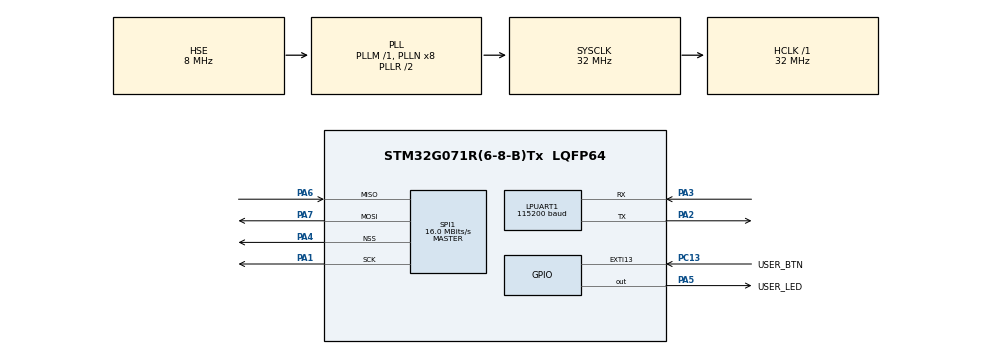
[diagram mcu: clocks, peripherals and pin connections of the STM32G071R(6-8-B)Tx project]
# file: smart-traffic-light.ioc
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FREERTOS.BinarySemaphores01=logger_s,Static,logger_s_ControlBlock;uart_s,Static,uart_s_ControlBlock
FREERTOS.Queues01=log_queue,16,logger_obj_t,0,Static,log_queueBuffer,log_queueControlBlock
FREERTOS.Tasks01=task1,24,512,task1_fct,Default,NULL,Static,task1_Buffer,task1_ControlBlock;task2,8,512,task2_fct,Default,NULL,Static,task2_Buffer,task2_ControlBlock;logger,8,512,logger_fct,Default,NULL,Static,logger_Buffer,logger_ControlBlock
FREERTOS.configMINIMAL_STACK_SIZE=512
LPUART1.BaudRate=115200
LPUART1.WordLength=UART_WORDLENGTH_8B
Mcu.Family=STM32G0
Mcu.Name=STM32G071R(6-8-B)Tx
Mcu.Package=LQFP64
NVIC.EXTI4_15_IRQn=true\:3\:0\:false\:false\:true\:true\:true\:true
NVIC.SPI1_IRQn=true\:3\:0\:false\:false\:true\:true\:true\:true
NVIC.USART3_4_LPUART1_IRQn=true\:3\:0\:false\:false\:true\:true\:true\:true
PA1.Mode=Full_Duplex_Master
PA1.Signal=SPI1_SCK
PA13.GPIO_Label=TMS
PA13.Mode=Serial_Wire
PA13.Signal=SYS_SWDIO
PA14-BOOT0.GPIO_Label=TCK
PA14-BOOT0.Mode=Serial_Wire
PA14-BOOT0.Signal=SYS_SWCLK
PA2.Mode=Asynchronous
PA2.Signal=LPUART1_TX
PA3.Mode=Asynchronous
PA3.Signal=LPUART1_RX
PA4.Mode=NSS_Signal_Hard_Output
PA4.Signal=SPI1_NSS
PA5.GPIO_Label=USER_LED
PA5.Signal=GPIO_Output
PA6.Mode=Full_Duplex_Master
PA6.Signal=SPI1_MISO
PA7.Mode=Full_Duplex_Master
PA7.Signal=SPI1_MOSI
PC13.GPIO_Label=USER_BTN
PC13.GPIO_ModeDefaultEXTI=GPIO_MODE_IT_RISING_FALLING
PC13.Signal=GPXTI13
PC14-OSC32_IN\ (PC14).Mode=LSE-External-Oscillator
PC14-OSC32_IN\ (PC14).Signal=RCC_OSC32_IN
PC15-OSC32_OUT\ (PC15).Mode=LSE-External-Oscillator
PC15-OSC32_OUT\ (PC15).Signal=RCC_OSC32_OUT
PF0-OSC_IN\ (PF0).GPIO_Label=MCO
PF0-OSC_IN\ (PF0).Mode=HSE-External-Oscillator
PF0-OSC_IN\ (PF0).Signal=RCC_OSC_IN
PF1-OSC_OUT\ (PF1).Mode=HSE-External-Oscillator
PF1-OSC_OUT\ (PF1).Signal=RCC_OSC_OUT
ProjectManager.HeapSize=0x200
ProjectManager.StackSize=0x400
ProjectManager.TargetToolchain=STM32CubeIDE
RCC.ADCFreq_Value=32000000
RCC.AHBFreq_Value=32000000
RCC.CortexFreq_Value=32000000
RCC.EXTERNAL_CLOCK_VALUE=12288000
RCC.HCLKFreq_Value=32000000
RCC.HSE_VALUE=8000000
RCC.HSI_VALUE=16000000
RCC.PLLQ=RCC_PLLQ_DIV4
RCC.PLLSourceVirtual=RCC_PLLSOURCE_HSE
RCC.SYSCLKFreq_VALUE=32000000
RCC.SYSCLKSource=RCC_SYSCLKSOURCE_PLLCLK
RCC.VCOOutputFreq_Value=64000000
SPI1.BaudRatePrescaler=SPI_BAUDRATEPRESCALER_2
SPI1.CalculateBaudRate=16.0 MBits/s
SPI1.DataSize=SPI_DATASIZE_8BIT
SPI1.Direction=SPI_DIRECTION_2LINES
SPI1.Mode=SPI_MODE_MASTER
SPI1.VirtualNSS=VM_NSSHARD
SPI1.VirtualType=VM_MASTER
VP_FREERTOS_VS_CMSIS_V2.Mode=CMSIS_V2
VP_RTC_VS_RTC_Activate.Mode=RTC_Enabled
VP_SYS_VS_DBSignals.Mode=DisableDeadBatterySignals
board=NUCLEO-G071RB

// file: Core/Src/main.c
/* USER CODE BEGIN Header */
/**
  ******************************************************************************
  * @file           : main.c
  * @brief          : Main program body
  ******************************************************************************
  * @attention
  *
  * <h2><center>&copy; Copyright (c) 2020 STMicroelectronics.
  * All rights reserved.</center></h2>
  *
  * This software component is licensed by ST under BSD 3-Clause license,
  * the "License"; You may not use this file except in compliance with the
  * License. You may obtain a copy of the License at:
  *                        opensource.org/licenses/BSD-3-Clause
  *
  ******************************************************************************
  */
/* USER CODE END Header */

#include "main.h"
#include "cmsis_os.h"

/* USER CODE BEGIN Includes */
#include <stdio.h>
#include "btn_driver.h"
#include "osdebug.h"
/* USER CODE END Includes */

typedef StaticTask_t osStaticThreadDef_t;
typedef StaticQueue_t osStaticMessageQDef_t;
typedef StaticSemaphore_t osStaticSemaphoreDef_t;

UART_HandleTypeDef hlpuart1;

RTC_HandleTypeDef hrtc;

SPI_HandleTypeDef hspi1;

/* Definitions for task1 */
osThreadId_t task1Handle;
uint32_t task1_Buffer[ 512 ];
osStaticThreadDef_t task1_ControlBlock;
const osThreadAttr_t task1_attributes = {
  .name = "task1",
  .stack_mem = &task1_Buffer[0],
  .stack_size = sizeof(task1_Buffer),
  .cb_mem = &task1_ControlBlock,
  .cb_size = sizeof(task1_ControlBlock),
  .priority = (osPriority_t) osPriorityNormal,
};
/* Definitions for task2 */
osThreadId_t task2Handle;
uint32_t task2_Buffer[ 512 ];
osStaticThreadDef_t task2_ControlBlock;
const osThreadAttr_t task2_attributes = {
  .name = "task2",
  .stack_mem = &task2_Buffer[0],
  .stack_size = sizeof(task2_Buffer),
  .cb_mem = &task2_ControlBlock,
  .cb_size = sizeof(task2_ControlBlock),
  .priority = (osPriority_t) osPriorityLow,
};
/* Definitions for logger */
osThreadId_t loggerHandle;
uint32_t logger_Buffer[ 512 ];
osStaticThreadDef_t logger_ControlBlock;
const osThreadAttr_t logger_attributes = {
  .name = "logger",
  .stack_mem = &logger_Buffer[0],
  .stack_size = sizeof(logger_Buffer),
  .cb_mem = &logger_ControlBlock,
  .cb_size = sizeof(logger_ControlBlock),
  .priority = (osPriority_t) osPriorityLow,
};
/* Definitions for log_queue */
osMessageQueueId_t log_queueHandle;
uint8_t log_queueBuffer[ 16 * sizeof( logger_obj_t ) ];
osStaticMessageQDef_t log_queueControlBlock;
const osMessageQueueAttr_t log_queue_attributes = {
  .name = "log_queue",
  .cb_mem = &log_queueControlBlock,
  .cb_size = sizeof(log_queueControlBlock),
  .mq_mem = &log_queueBuffer,
  .mq_size = sizeof(log_queueBuffer)
};
/* Definitions for logger_s */
osSemaphoreId_t logger_sHandle;
osStaticSemaphoreDef_t logger_s_ControlBlock;
const osSemaphoreAttr_t logger_s_attributes = {
  .name = "logger_s",
  .cb_mem = &logger_s_ControlBlock,
  .cb_size = sizeof(logger_s_ControlBlock),
};
/* Definitions for uart_s */
osSemaphoreId_t uart_sHandle;
osStaticSemaphoreDef_t uart_s_ControlBlock;
const osSemaphoreAttr_t uart_s_attributes = {
  .name = "uart_s",
  .cb_mem = &uart_s_ControlBlock,
  .cb_size = sizeof(uart_s_ControlBlock),
};
/* USER CODE BEGIN PV */

const char* hello	= "brief #9.2 DC+B welcome";

uint8_t btn_cpt = 0;

const osEventFlagsAttr_t flag_event_10s_attributes = {
  .name = "flag_event_10s",
  .attr_bits = 0,
  .cb_mem = NULL,
  .cb_size = 0
};
/* USER CODE END PV */

void SystemClock_Config(void);
static void MX_GPIO_Init(void);
static void MX_SPI1_Init(void);
static void MX_LPUART1_UART_Init(void);
static void MX_RTC_Init(void);
void task1_fct(void *argument);
void task2_fct(void *argument);
void logger_fct(void *argument);

int main(void)
{

  /* MCU Configuration--------------------------------------------------------*/

  /* Reset of all peripherals, Initializes the Flash interface and the Systick. */
  HAL_Init();

  /* Configure the system clock */
  SystemClock_Config();

  /* Initialize all configured peripherals */
  MX_GPIO_Init();
  MX_SPI1_Init();
  MX_LPUART1_UART_Init();
  MX_RTC_Init();
  /* USER CODE BEGIN 2 */

  btn_driver_init();
  dbg_init(DBG_UART);

  /* USER CODE END 2 */

  /* Init scheduler */
  osKernelInitialize();

  /* Create the semaphores(s) */
  /* creation of logger_s */
  logger_sHandle = osSemaphoreNew(1, 1, &logger_s_attributes);

  /* creation of uart_s */
  uart_sHandle = osSemaphoreNew(1, 1, &uart_s_attributes);

  /* Create the queue(s) */
  /* creation of log_queue */
  log_queueHandle = osMessageQueueNew (16, sizeof(logger_obj_t), &log_queue_attributes);

  /* Create the thread(s) */
  /* creation of task1 */
  task1Handle = osThreadNew(task1_fct, NULL, &task1_attributes);

  /* creation of task2 */
  task2Handle = osThreadNew(task2_fct, NULL, &task2_attributes);

  /* creation of logger */
  loggerHandle = osThreadNew(logger_fct, NULL, &logger_attributes);

  /* USER CODE BEGIN RTOS_THREADS */
  /* add threads, ... */

  // first welcome hello
  dbg_log("%s TRACE DEBUG [%s]", hello, TRACE?"ON":"OFF" );

  /* USER CODE END RTOS_THREADS */

  /* Start scheduler */
  osKernelStart();

  /* We should never get here as control is now taken by the scheduler */
  /* Infinite loop */
  while (1)
  {

  }
}

void SystemClock_Config(void)
{
  RCC_OscInitTypeDef RCC_OscInitStruct = {0};
  RCC_ClkInitTypeDef RCC_ClkInitStruct = {0};
  RCC_PeriphCLKInitTypeDef PeriphClkInit = {0};

  /** Configure the main internal regulator output voltage
  */
  HAL_PWREx_ControlVoltageScaling(PWR_REGULATOR_VOLTAGE_SCALE1);
  /** Initializes the CPU, AHB and APB busses clocks
  */
  RCC_OscInitStruct.OscillatorType = RCC_OSCILLATORTYPE_LSI|RCC_OSCILLATORTYPE_HSE;
  RCC_OscInitStruct.HSEState = RCC_HSE_ON;
  RCC_OscInitStruct.LSIState = RCC_LSI_ON;
  RCC_OscInitStruct.PLL.PLLState = RCC_PLL_ON;
  RCC_OscInitStruct.PLL.PLLSource = RCC_PLLSOURCE_HSE;
  RCC_OscInitStruct.PLL.PLLM = RCC_PLLM_DIV1;
  RCC_OscInitStruct.PLL.PLLN = 8;
  RCC_OscInitStruct.PLL.PLLP = RCC_PLLP_DIV2;
  RCC_OscInitStruct.PLL.PLLQ = RCC_PLLQ_DIV4;
  RCC_OscInitStruct.PLL.PLLR = RCC_PLLR_DIV2;
  if (HAL_RCC_OscConfig(&RCC_OscInitStruct) != HAL_OK)
  {
    Error_Handler();
  }
  /** Initializes the CPU, AHB and APB busses clocks
  */
  RCC_ClkInitStruct.ClockType = RCC_CLOCKTYPE_HCLK|RCC_CLOCKTYPE_SYSCLK
                              |RCC_CLOCKTYPE_PCLK1;
  RCC_ClkInitStruct.SYSCLKSource = RCC_SYSCLKSOURCE_PLLCLK;
  RCC_ClkInitStruct.AHBCLKDivider = RCC_SYSCLK_DIV1;
  RCC_ClkInitStruct.APB1CLKDivider = RCC_HCLK_DIV1;

  if (HAL_RCC_ClockConfig(&RCC_ClkInitStruct, FLASH_LATENCY_1) != HAL_OK)
  {
    Error_Handler();
  }
  /** Initializes the peripherals clocks
  */
  PeriphClkInit.PeriphClockSelection = RCC_PERIPHCLK_RTC|RCC_PERIPHCLK_LPUART1;
  PeriphClkInit.Lpuart1ClockSelection = RCC_LPUART1CLKSOURCE_PCLK1;
  PeriphClkInit.RTCClockSelection = RCC_RTCCLKSOURCE_LSI;

  if (HAL_RCCEx_PeriphCLKConfig(&PeriphClkInit) != HAL_OK)
  {
    Error_Handler();
  }
}

static void MX_LPUART1_UART_Init(void)
{

  hlpuart1.Instance = LPUART1;
  hlpuart1.Init.BaudRate = 115200;
  hlpuart1.Init.WordLength = UART_WORDLENGTH_8B;
  hlpuart1.Init.StopBits = UART_STOPBITS_1;
  hlpuart1.Init.Parity = UART_PARITY_NONE;
  hlpuart1.Init.Mode = UART_MODE_TX_RX;
  hlpuart1.Init.HwFlowCtl = UART_HWCONTROL_NONE;
  hlpuart1.Init.OneBitSampling = UART_ONE_BIT_SAMPLE_DISABLE;
  hlpuart1.Init.ClockPrescaler = UART_PRESCALER_DIV1;
  hlpuart1.AdvancedInit.AdvFeatureInit = UART_ADVFEATURE_NO_INIT;
  hlpuart1.FifoMode = UART_FIFOMODE_DISABLE;
  if (HAL_UART_Init(&hlpuart1) != HAL_OK)
  {
    Error_Handler();
  }
  if (HAL_UARTEx_SetTxFifoThreshold(&hlpuart1, UART_TXFIFO_THRESHOLD_1_8) != HAL_OK)
  {
    Error_Handler();
  }
  if (HAL_UARTEx_SetRxFifoThreshold(&hlpuart1, UART_RXFIFO_THRESHOLD_1_8) != HAL_OK)
  {
    Error_Handler();
  }
  if (HAL_UARTEx_DisableFifoMode(&hlpuart1) != HAL_OK)
  {
    Error_Handler();
  }

}

static void MX_RTC_Init(void)
{

  /** Initialize RTC Only
  */
  hrtc.Instance = RTC;
  hrtc.Init.HourFormat = RTC_HOURFORMAT_24;
  hrtc.Init.AsynchPrediv = 127;
  hrtc.Init.SynchPrediv = 255;
  hrtc.Init.OutPut = RTC_OUTPUT_DISABLE;
  hrtc.Init.OutPutRemap = RTC_OUTPUT_REMAP_NONE;
  hrtc.Init.OutPutPolarity = RTC_OUTPUT_POLARITY_HIGH;
  hrtc.Init.OutPutType = RTC_OUTPUT_TYPE_OPENDRAIN;
  hrtc.Init.OutPutPullUp = RTC_OUTPUT_PULLUP_NONE;
  if (HAL_RTC_Init(&hrtc) != HAL_OK)
  {
    Error_Handler();
  }

}

static void MX_SPI1_Init(void)
{

  /* SPI1 parameter configuration*/
  hspi1.Instance = SPI1;
  hspi1.Init.Mode = SPI_MODE_MASTER;
  hspi1.Init.Direction = SPI_DIRECTION_2LINES;
  hspi1.Init.DataSize = SPI_DATASIZE_8BIT;
  hspi1.Init.CLKPolarity = SPI_POLARITY_LOW;
  hspi1.Init.CLKPhase = SPI_PHASE_1EDGE;
  hspi1.Init.NSS = SPI_NSS_HARD_OUTPUT;
  hspi1.Init.BaudRatePrescaler = SPI_BAUDRATEPRESCALER_2;
  hspi1.Init.FirstBit = SPI_FIRSTBIT_MSB;
  hspi1.Init.TIMode = SPI_TIMODE_DISABLE;
  hspi1.Init.CRCCalculation = SPI_CRCCALCULATION_DISABLE;
  hspi1.Init.CRCPolynomial = 7;
  hspi1.Init.CRCLength = SPI_CRC_LENGTH_DATASIZE;
  hspi1.Init.NSSPMode = SPI_NSS_PULSE_ENABLE;
  if (HAL_SPI_Init(&hspi1) != HAL_OK)
  {
    Error_Handler();
  }

}

static void MX_GPIO_Init(void)
{
  GPIO_InitTypeDef GPIO_InitStruct = {0};

  /* GPIO Ports Clock Enable */
  __HAL_RCC_GPIOC_CLK_ENABLE();
  __HAL_RCC_GPIOF_CLK_ENABLE();
  __HAL_RCC_GPIOA_CLK_ENABLE();

  /*Configure GPIO pin Output Level */
  HAL_GPIO_WritePin(USER_LED_GPIO_Port, USER_LED_Pin, GPIO_PIN_RESET);

  /*Configure GPIO pin : USER_BTN_Pin */
  GPIO_InitStruct.Pin = USER_BTN_Pin;
  GPIO_InitStruct.Mode = GPIO_MODE_IT_RISING_FALLING;
  GPIO_InitStruct.Pull = GPIO_NOPULL;
  HAL_GPIO_Init(USER_BTN_GPIO_Port, &GPIO_InitStruct);

  /*Configure GPIO pin : USER_LED_Pin */
  GPIO_InitStruct.Pin = USER_LED_Pin;
  GPIO_InitStruct.Mode = GPIO_MODE_OUTPUT_PP;
  GPIO_InitStruct.Pull = GPIO_NOPULL;
  GPIO_InitStruct.Speed = GPIO_SPEED_FREQ_LOW;
  HAL_GPIO_Init(USER_LED_GPIO_Port, &GPIO_InitStruct);

  /* EXTI interrupt init*/
  HAL_NVIC_SetPriority(EXTI4_15_IRQn, 3, 0);
  HAL_NVIC_EnableIRQ(EXTI4_15_IRQn);

}

void task1_fct(void *argument)
{
  /* USER CODE BEGIN 5 */
  dbg_log("task 1 started");

  /* Infinite loop */
  for(;;)
  {
	dbg_printf("task 1 alive");
	osDelay(20);
  }
  /* USER CODE END 5 */
}

void task2_fct(void *argument)
{
  /* USER CODE BEGIN task2_fct */
  dbg_log("task 2 started");

  /* Infinite loop */
  for(;;)
  {
	dbg_printf("task 2 alive");
	osDelay(20);
  }
  /* USER CODE END task2_fct */
}

void logger_fct(void *argument)
{
  /* USER CODE BEGIN logger_fct */

  /* Infinite loop */
  for(;;)
  {
	dbg();
	osDelay(1);
  }
  /* USER CODE END logger_fct */
}

void Error_Handler(void)
{
}

/************************ (C) COPYRIGHT STMicroelectronics *****END OF FILE****/
